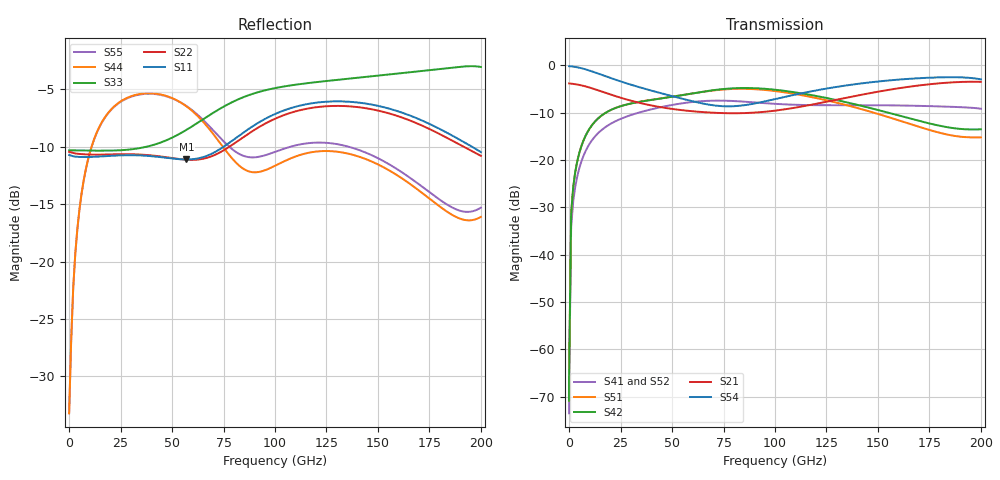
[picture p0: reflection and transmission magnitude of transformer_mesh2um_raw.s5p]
#  GHZ S DB R 50.0
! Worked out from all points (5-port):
!   202 points, 10 MHz to 200 GHz, reference 50 ohm
!   strongest paths, dB at 10 MHz, 49 GHz, 100 GHz, 150 GHz, 200 GHz:
!     S54: -0.2, -6.4, -7.1, -3.4, -3.0
!     S21: -3.8, -9.2, -9.6, -5.6, -3.5
!     S42: -70.8, -6.7, -5.2, -9.4, -13.5
!     S51: -70.8, -6.7, -5.4, -10.3, -15.2
!     S41: -73.5, -8.5, -8.1, -8.4, -9.2
!     S52: -73.5, -8.5, -8.2, -8.6, -9.4
!   lowest |S11| = -11.1 dB at 57 GHz (marker M1), VSWR 1.77, Z = 72.1 + j26.8 ohm
!   |S11| at or under -10 dB: start of sweep to 75.2 GHz; 195.5 GHz to end of sweep
